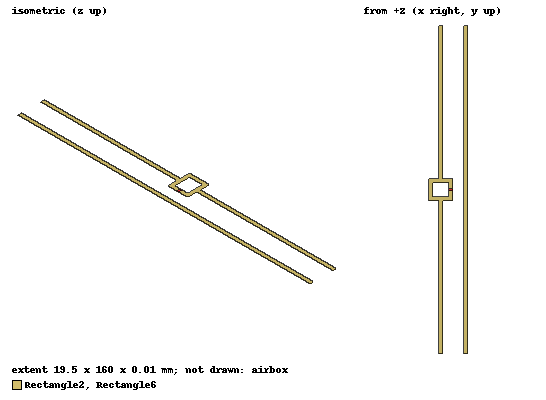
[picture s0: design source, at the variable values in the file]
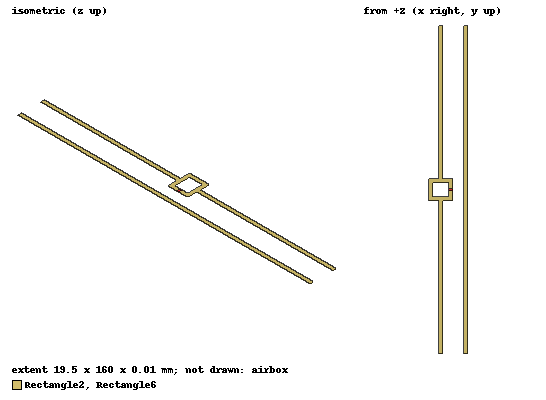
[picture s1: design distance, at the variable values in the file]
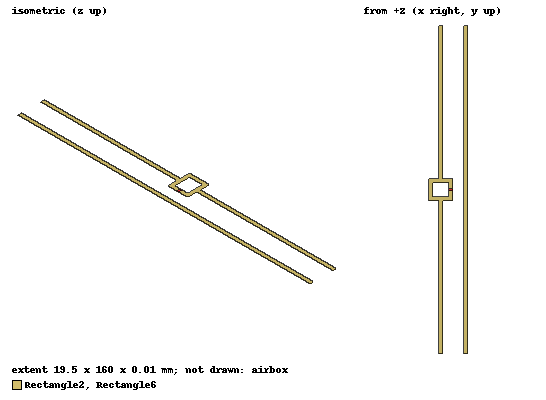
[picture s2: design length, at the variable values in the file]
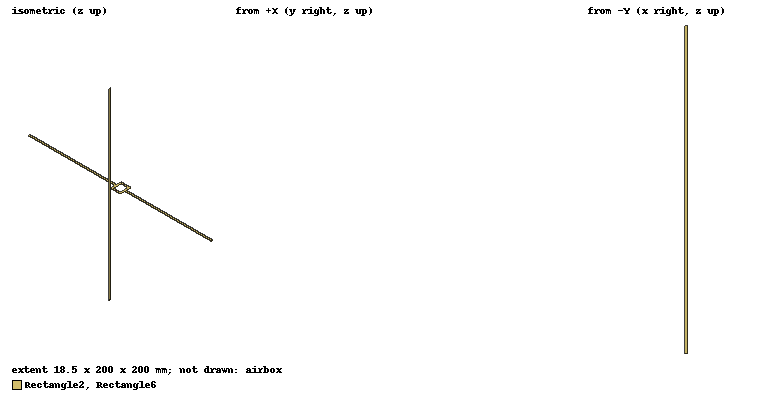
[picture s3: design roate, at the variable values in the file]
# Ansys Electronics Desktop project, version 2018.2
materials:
  vacuum: permittivity=1
  copper: permeability=0.999991 conductivity=58000000
  air: permittivity=1.0006 permeability=1.0000004

design source (HFSS, DrivenModal, model units mm)
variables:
  width = 2mm
  yLength = 7mm
  downLength = 160mm
  xLength = 8mm
  downXsize = 2mm
  gap = 5.5mm
  h2 = 50um  # 中间层厚度
  h1 = 10um  # 上环厚度
  l = 8cm
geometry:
  Rectangle4 = rectangle(corner=(-xLength/2 - width, -yLength /2  - width, 0mm), x_size=xLength + 2 * width, y_size=yLength + 2 * width)
  Rectangle5 = rectangle(corner=(-xLength/2, -yLength /2, 0mm), x_size=xLength, y_size=yLength)
  Rectangle4.subtract(Rectangle5)
  Rectangle3 = rectangle(corner=(0mm, -0.5mm, 0mm), x_size=90mm, y_size=1mm)
  Rectangle4.intersect(Rectangle3)
  airbox [air] = cylinder(axis=Z, base_centre=(0mm, 0mm, -8.2cm), radius=8.2cm+l, height=h1+h2+16.4cm)
  Rectangle2 [copper] = rectangle(corner=(-xLength/2 - width, -yLength /2  - width, 0mm), x_size=xLength + 2 * width, y_size=yLength + 2 * width)
  Rectangle1 = rectangle(corner=(-xLength/2, -yLength /2, 0mm), x_size=xLength, y_size=yLength)
  Rectangle2.subtract(Rectangle1)
  Rectangle9 = rectangle(corner=(-xLength/2 - width, -yLength /2  - width, 0mm), x_size=xLength + 2 * width, y_size=yLength + 2 * width)
  Rectangle10 = rectangle(corner=(-xLength/2, -yLength /2, 0mm), x_size=xLength, y_size=yLength)
  Rectangle9.subtract(Rectangle10)
  Rectangle8 = rectangle(corner=(0mm, -0.5mm, 0mm), x_size=90mm, y_size=1mm)
  Rectangle9.intersect(Rectangle8)
  Rectangle4_1 = Rectangle9.copy()
  Rectangle2.subtract(Rectangle4_1)
  Rectangle9.delete()
  Rectangle2.thicken(0.01mm)
  Rectangle7 = rectangle(corner=(-width/2, yLength/2+width, 0mm), x_size=width, y_size=downLength/2-yLength/2-width)
  Rectangle7_1 = Rectangle7.duplicate_mirror(point=(0mm, 0mm, 0mm), normal=(0mm, -1mm, 0mm))
  [Rectangle7, Rectangle7_1].thicken(0.01mm)
  Rectangle2.unite(Rectangle7, Rectangle7_1)
  Rectangle6 [copper] = rectangle(corner=(xLength/2 + width +gap, -downLength/2, 0mm), x_size=downXsize, y_size=downLength)
  Rectangle6.thicken(0.01mm)
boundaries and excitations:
  Rad1: Radiation Objects=airbox
  1: Lumped Port Objects=Rectangle4 Modes{Mode1{IntLine{middle of Rectangle3.edge(y at corner) -> middle of Rectangle3.edge(y opposite corner)} CharImp=Zpi}} Impedance="(1.7152+59.65*1i) ohm"
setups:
  Setup1: HfssDriven Frequency=0.922GHz MaxDeltaS=0.02 MaximumPasses=6 MinimumPasses=1 MinimumConvergedPasses=1 PercentRefinement=30 BasisOrder=1 PortAccuracy=2
    sweep Sweep: 0.9GHz to 1GHz, 451 points; Type=Fast SaveFields
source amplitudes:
  1:1: 1W 0deg
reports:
  Z Parameter Plot 1: re(Z(1,1)), im(Z(1,1)) vs Freq on Setup1 : Sweep; markers MX1 at x=9.2326203e+08

design distance (HFSS, DrivenModal, model units mm)
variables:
  width = 2mm
  yLength = 7mm
  downLength = 160mm
  xLength = 8mm
  downXsize = 2mm
  gap = 5.5mm
  h2 = 50um  # 中间层厚度
  h1 = 10um  # 上环厚度
  l = 8cm
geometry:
  Rectangle4 = rectangle(corner=(-xLength/2 - width, -yLength /2  - width, 0mm), x_size=xLength + 2 * width, y_size=yLength + 2 * width)
  Rectangle5 = rectangle(corner=(-xLength/2, -yLength /2, 0mm), x_size=xLength, y_size=yLength)
  Rectangle4.subtract(Rectangle5)
  Rectangle3 = rectangle(corner=(0mm, -0.5mm, 0mm), x_size=90mm, y_size=1mm)
  Rectangle4.intersect(Rectangle3)
  airbox [air] = cylinder(axis=Z, base_centre=(0mm, 0mm, -8.2cm), radius=8.2cm+l, height=h1+h2+16.4cm)
  Rectangle2 [copper] = rectangle(corner=(-xLength/2 - width, -yLength /2  - width, 0mm), x_size=xLength + 2 * width, y_size=yLength + 2 * width)
  Rectangle1 = rectangle(corner=(-xLength/2, -yLength /2, 0mm), x_size=xLength, y_size=yLength)
  Rectangle2.subtract(Rectangle1)
  Rectangle9 = rectangle(corner=(-xLength/2 - width, -yLength /2  - width, 0mm), x_size=xLength + 2 * width, y_size=yLength + 2 * width)
  Rectangle10 = rectangle(corner=(-xLength/2, -yLength /2, 0mm), x_size=xLength, y_size=yLength)
  Rectangle9.subtract(Rectangle10)
  Rectangle8 = rectangle(corner=(0mm, -0.5mm, 0mm), x_size=90mm, y_size=1mm)
  Rectangle9.intersect(Rectangle8)
  Rectangle4_1 = Rectangle9.copy()
  Rectangle2.subtract(Rectangle4_1)
  Rectangle9.delete()
  Rectangle2.thicken(0.01mm)
  Rectangle7 = rectangle(corner=(-width/2, yLength/2+width, 0mm), x_size=width, y_size=downLength/2-yLength/2-width)
  Rectangle7_1 = Rectangle7.duplicate_mirror(point=(0mm, 0mm, 0mm), normal=(0mm, -1mm, 0mm))
  [Rectangle7, Rectangle7_1].thicken(0.01mm)
  Rectangle2.unite(Rectangle7, Rectangle7_1)
  Rectangle6 [copper] = rectangle(corner=(xLength/2 + width +gap, -downLength/2, 0mm), x_size=downXsize, y_size=downLength)
  Rectangle6.thicken(0.01mm)
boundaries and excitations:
  Rad1: Radiation Objects=airbox
  1: Lumped Port Objects=Rectangle4 Modes{Mode1{IntLine{middle of Rectangle3.edge(y at corner) -> middle of Rectangle3.edge(y opposite corner)} CharImp=Zpi}} Impedance="(1.7152+59.65*1i) ohm"
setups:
  Setup1: HfssDriven Frequency=0.922GHz MaxDeltaS=0.02 MaximumPasses=6 MinimumPasses=1 MinimumConvergedPasses=1 PercentRefinement=30 BasisOrder=1 PortAccuracy=2
    sweep Sweep: 0.9GHz to 1GHz, 451 points; Type=Fast SaveFields
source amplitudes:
  1:1: 1W 0deg
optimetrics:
  ParametricSetup1: Parametric Sim._Setups=[Setup1]
    sweep gap: LIN 2.75mm 8.25mm 1mm

design length (HFSS, DrivenModal, model units mm)
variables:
  width = 2mm
  yLength = 7mm
  downLength = 160mm
  xLength = 8mm
  downXsize = 2mm
  gap = 5.5mm
  h2 = 50um  # 中间层厚度
  h1 = 10um  # 上环厚度
  l = 8cm
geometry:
  Rectangle4 = rectangle(corner=(-xLength/2 - width, -yLength /2  - width, 0mm), x_size=xLength + 2 * width, y_size=yLength + 2 * width)
  Rectangle5 = rectangle(corner=(-xLength/2, -yLength /2, 0mm), x_size=xLength, y_size=yLength)
  Rectangle4.subtract(Rectangle5)
  Rectangle3 = rectangle(corner=(0mm, -0.5mm, 0mm), x_size=90mm, y_size=1mm)
  Rectangle4.intersect(Rectangle3)
  airbox [air] = cylinder(axis=Z, base_centre=(0mm, 0mm, -8.2cm), radius=8.2cm+l, height=h1+h2+16.4cm)
  Rectangle2 [copper] = rectangle(corner=(-xLength/2 - width, -yLength /2  - width, 0mm), x_size=xLength + 2 * width, y_size=yLength + 2 * width)
  Rectangle1 = rectangle(corner=(-xLength/2, -yLength /2, 0mm), x_size=xLength, y_size=yLength)
  Rectangle2.subtract(Rectangle1)
  Rectangle9 = rectangle(corner=(-xLength/2 - width, -yLength /2  - width, 0mm), x_size=xLength + 2 * width, y_size=yLength + 2 * width)
  Rectangle10 = rectangle(corner=(-xLength/2, -yLength /2, 0mm), x_size=xLength, y_size=yLength)
  Rectangle9.subtract(Rectangle10)
  Rectangle8 = rectangle(corner=(0mm, -0.5mm, 0mm), x_size=90mm, y_size=1mm)
  Rectangle9.intersect(Rectangle8)
  Rectangle4_1 = Rectangle9.copy()
  Rectangle2.subtract(Rectangle4_1)
  Rectangle9.delete()
  Rectangle2.thicken(0.01mm)
  Rectangle7 = rectangle(corner=(-width/2, yLength/2+width, 0mm), x_size=width, y_size=downLength/2-yLength/2-width)
  Rectangle7_1 = Rectangle7.duplicate_mirror(point=(0mm, 0mm, 0mm), normal=(0mm, -1mm, 0mm))
  [Rectangle7, Rectangle7_1].thicken(0.01mm)
  Rectangle2.unite(Rectangle7, Rectangle7_1)
  Rectangle6 [copper] = rectangle(corner=(xLength/2 + width +gap, -downLength/2, 0mm), x_size=downXsize, y_size=downLength)
  Rectangle6.thicken(0.01mm)
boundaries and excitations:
  Rad1: Radiation Objects=airbox
  1: Lumped Port Objects=Rectangle4 Modes{Mode1{IntLine{middle of Rectangle3.edge(y at corner) -> middle of Rectangle3.edge(y opposite corner)} CharImp=Zpi}} Impedance="(1.7152+59.65*1i) ohm"
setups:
  Setup1: HfssDriven Frequency=0.922GHz MaxDeltaS=0.02 MaximumPasses=6 MinimumPasses=1 MinimumConvergedPasses=1 PercentRefinement=30 BasisOrder=1 PortAccuracy=2
    sweep Sweep: 0.9GHz to 1GHz, 451 points; Type=Fast SaveFields
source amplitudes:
  1:1: 1W 0deg
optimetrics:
  ParametricSetup1: Parametric Sim._Setups=[Setup1]
    sweep downLength: LIN 160mm 240mm 20mm

design roate (HFSS, DrivenModal, model units mm)
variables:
  width = 2mm
  yLength = 7mm
  downLength = 200mm
  xLength = 8mm
  downXsize = 2mm
  gap = 4.5mm
  h2 = 50um  # 中间层厚度
  h1 = 10um  # 上环厚度
  l = 8cm
  roateAngle = 90deg
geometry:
  Rectangle4 = rectangle(corner=(-xLength/2 - width, -yLength /2  - width, 0mm), x_size=xLength + 2 * width, y_size=yLength + 2 * width)
  Rectangle5 = rectangle(corner=(-xLength/2, -yLength /2, 0mm), x_size=xLength, y_size=yLength)
  Rectangle4.subtract(Rectangle5)
  Rectangle3 = rectangle(corner=(0mm, -0.5mm, 0mm), x_size=90mm, y_size=1mm)
  Rectangle4.intersect(Rectangle3)
  airbox [air] = cylinder(axis=Z, base_centre=(0mm, 0mm, -18.2cm), radius=8.2cm+l, height=h1+h2+36.4cm)
  Rectangle2 [copper] = rectangle(corner=(-xLength/2 - width, -yLength /2  - width, 0mm), x_size=xLength + 2 * width, y_size=yLength + 2 * width)
  Rectangle1 = rectangle(corner=(-xLength/2, -yLength /2, 0mm), x_size=xLength, y_size=yLength)
  Rectangle2.subtract(Rectangle1)
  Rectangle9 = rectangle(corner=(-xLength/2 - width, -yLength /2  - width, 0mm), x_size=xLength + 2 * width, y_size=yLength + 2 * width)
  Rectangle10 = rectangle(corner=(-xLength/2, -yLength /2, 0mm), x_size=xLength, y_size=yLength)
  Rectangle9.subtract(Rectangle10)
  Rectangle8 = rectangle(corner=(0mm, -0.5mm, 0mm), x_size=90mm, y_size=1mm)
  Rectangle9.intersect(Rectangle8)
  Rectangle4_1 = Rectangle9.copy()
  Rectangle2.subtract(Rectangle4_1)
  Rectangle9.delete()
  Rectangle2.thicken(0.01mm)
  Rectangle7 = rectangle(corner=(-width/2, yLength/2+width, 0mm), x_size=width, y_size=downLength/2-yLength/2-width)
  Rectangle7_1 = Rectangle7.duplicate_mirror(point=(0mm, 0mm, 0mm), normal=(0mm, -1mm, 0mm))
  [Rectangle7, Rectangle7_1].thicken(0.01mm)
  Rectangle2.unite(Rectangle7, Rectangle7_1)
  Rectangle6 [copper] = rectangle(corner=(xLength/2 + width +gap, -downLength/2, 0mm), x_size=downXsize, y_size=downLength)
  Rectangle6.thicken(0.01mm)
  Rectangle6.rotate(axis=X, angle=roateAngle)
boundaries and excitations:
  Rad1: Radiation Objects=airbox
  1: Lumped Port Objects=Rectangle4 Modes{Mode1{IntLine{middle of Rectangle3.edge(y at corner) -> middle of Rectangle3.edge(y opposite corner)} CharImp=Zpi}} Impedance="(1.7152+59.65*1i) ohm"
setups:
  Setup1: HfssDriven Frequency=0.922GHz MaxDeltaS=0.02 MaximumPasses=6 MinimumPasses=1 MinimumConvergedPasses=1 PercentRefinement=30 BasisOrder=1 PortAccuracy=2
    sweep Sweep: 0.9GHz to 1GHz, 451 points; Type=Fast SaveFields
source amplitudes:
  1:1: 1W 0deg
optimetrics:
  ParametricSetup1: Parametric Sim._Setups=[Setup1]
    sweep roateAngle: LIN 0deg 75deg 15deg
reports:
  Z Parameter Plot 1: re(Z(1,1)), im(Z(1,1)) vs Freq on Setup1 : Sweep [roateAngle=all]; markers MX1 at x=9.2413793e+08
